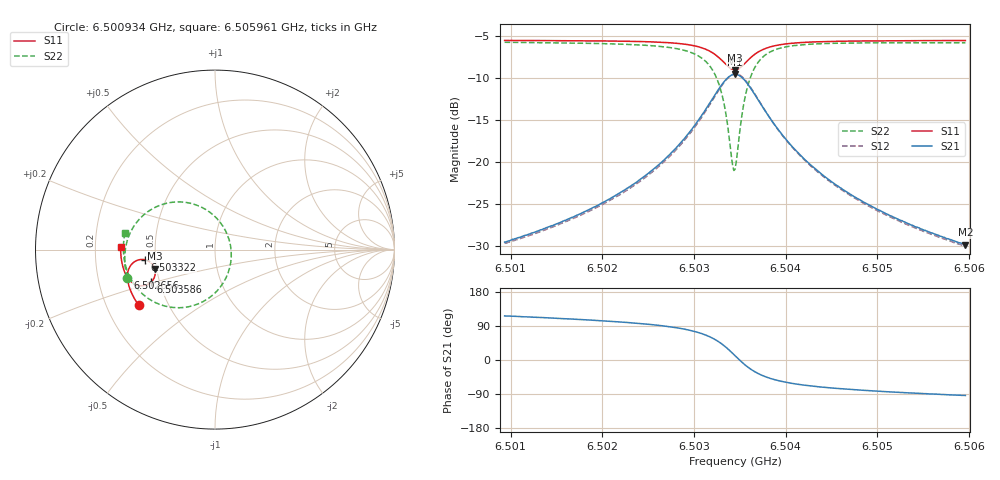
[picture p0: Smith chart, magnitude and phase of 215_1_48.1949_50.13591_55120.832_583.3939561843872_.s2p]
#  HZ  S  RI  R  50.00
! Rohde & Schwarz Vector Network Analyzer
! Rohde-Schwarz,ZNB20-2Port,1311601062101988,3.16
! Created: UTC 3/20/2024, 11:45:42 AM
! freq[Hz]  re:S11  im:S11  re:S21  im:S21  re:S12  im:S12  re:S22  im:S22
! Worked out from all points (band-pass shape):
!   401 points, 6.500934 GHz to 6.505961 GHz, reference 50 ohm
!   highest |S21| = -9.59 dB at 6.503448 GHz (marker M1); lowest = -29.8 dB at 6.505961 GHz (marker M2)
!   |S21| within 3 dB of the highest: 6.503196 GHz to 6.503698 GHz (502.2 kHz wide, 0.00772 % of centre)
!   lowest |S11| = -9.1 dB at 6.503448 GHz (marker M3), VSWR 2.09, Z = 24.4 - j5.93 ohm
!   |S11| at or under -10 dB: nowhere
!   |S22| runs from -21.0 to -5.8 dB; largest |S21 - S12| = 0.012
!   S11 on the Smith chart (normalised r, x): 6.500934 GHz: 0.34, -0.29; 6.502656 GHz: 0.33, -0.14; 6.503322 GHz: 0.44, -0.06; 6.503586 GHz: 0.45, -0.19; 6.505961 GHz: 0.31, +0.01
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6.500934e9  -0.4257 -0.3099  -0.015 0.03  -0.0132 0.0302  -0.4894 -0.1555
6.501776e9  -0.4619 -0.2479  -0.0143 0.0478  -0.0118 0.0474  -0.5029 -0.0664
6.5022033e9  -0.4771 -0.2104  -0.0116 0.0652  -0.00875 0.0642  -0.5007 -0.00636
6.502618e9  -0.4871 -0.1651  -0.00225 0.0967  0.00136 0.0945  -0.4803 0.0752
6.5026558e9  -0.4875 -0.1602  -0.000484 0.101  0.0033 0.0985  -0.4764 0.0845
6.5029322e9  -0.4837 -0.1172  0.0265 0.1436  0.0302 0.1392  -0.4207 0.1705
6.5031208e9  -0.462 -0.079  0.0809 0.1858  0.0834 0.1796  -0.3162 0.2433
6.5032339e9  -0.4293 -0.0583  0.1505 0.2034  0.1513 0.197  -0.1907 0.2654
6.5033218e9  -0.3886 -0.0568  0.2305 0.1867  0.231 0.1816  -0.0526 0.224
6.5034224e9  -0.3423 -0.0918  0.3148 0.0987  0.3176 0.0936  0.0797 0.0516
6.5034475e9  -0.3359 -0.1066  0.325 0.0661  0.3282 0.0601  0.0902 -0.00916
6.5034726e9  -0.3331 -0.1223  0.3283 0.0321  0.3318 0.025  0.0878 -0.071
6.5035355e9  -0.3403 -0.1599  0.3095 -0.0462  0.3118 -0.0564  0.0307 -0.2072
6.5035858e9  -0.357 -0.1818  0.2757 -0.0918  0.2753 -0.1033  -0.0465 -0.2781
6.503636e9  -0.3772 -0.1949  0.2368 -0.1201  0.2337 -0.1312  -0.1283 -0.3139
6.5036989e9  -0.4016 -0.2012  0.1908 -0.1364  0.1854 -0.1461  -0.2183 -0.3235
6.5038622e9  -0.4479 -0.1914  0.1086 -0.1329  0.1016 -0.1381  -0.3661 -0.276
6.5040382e9  -0.4755 -0.1701  0.0641 -0.1127  0.0578 -0.115  -0.4384 -0.2108
6.5042895e9  -0.4962 -0.1402  0.0339 -0.0881  0.0292 -0.0887  -0.4818 -0.1381
6.5046917e9  -0.5123 -0.0984  0.0142 -0.0638  0.011 -0.0632  -0.505 -0.0591
6.5051316e9  -0.5211 -0.0578  0.00505 -0.0481  0.00276 -0.0475  -0.5104 0.00255
6.505961e9  -0.5259 0.0124  -0.00205 -0.0323  -0.00341 -0.0316  -0.5025 0.0903
